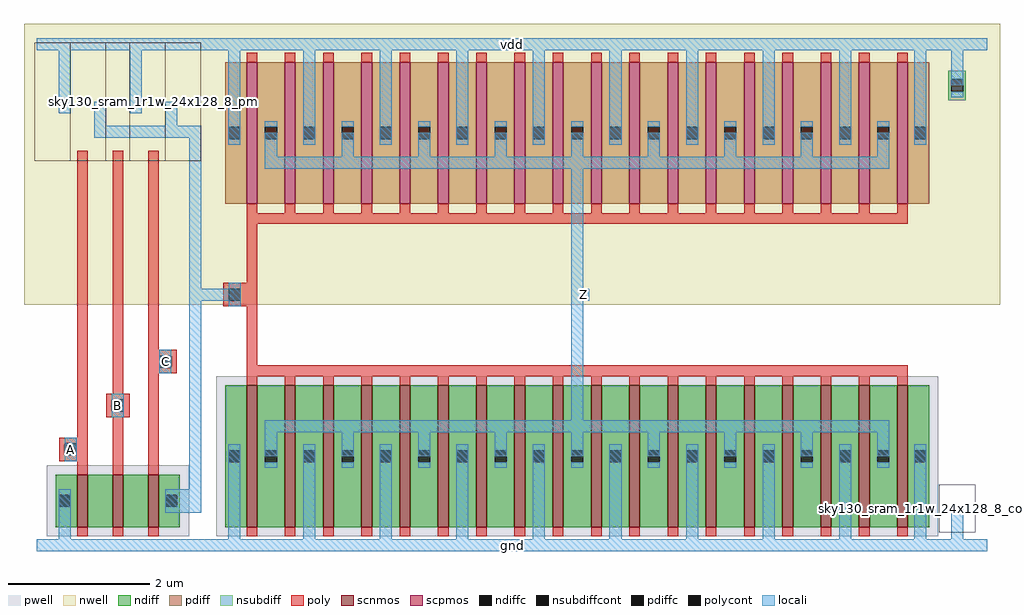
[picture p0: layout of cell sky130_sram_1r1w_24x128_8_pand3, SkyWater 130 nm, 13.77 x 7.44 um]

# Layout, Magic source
magic
tech sky130B
magscale 1 2
<< locali >>
rect 0 1397 2682 1431
rect 430 724 464 1167
rect 430 690 559 724
rect 1525 690 1559 724
rect 345 485 379 551
rect 212 361 246 427
rect 79 237 113 303
rect 0 -17 2682 17
use sky130_sram_1r1w_24x128_8_pdriver_2  sky130_sram_1r1w_24x128_8_pdriver_2_0
transform 1 0 478 0 1 0
box -36 -17 2240 1471
use sky130_sram_1r1w_24x128_8_pnand3  sky130_sram_1r1w_24x128_8_pnand3_0
transform 1 0 0 0 1 0
box -36 -17 514 1471
<< labels >>
rlabel locali s 1542 707 1542 707 4 Z
port 1 nsew
rlabel locali s 96 270 96 270 4 A
port 2 nsew
rlabel locali s 229 394 229 394 4 B
port 3 nsew
rlabel locali s 362 518 362 518 4 C
port 4 nsew
rlabel locali s 1341 0 1341 0 4 gnd
port 5 nsew
rlabel locali s 1341 1414 1341 1414 4 vdd
port 6 nsew
<< properties >>
string FIXED_BBOX 0 0 2682 1414
<< end >>

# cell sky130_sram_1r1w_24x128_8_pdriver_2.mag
magic
tech sky130B
magscale 1 2
<< nwell >>
rect -36 679 2240 1471
<< locali >>
rect 0 1397 2204 1431
rect 64 674 98 740
rect 1047 690 1081 724
rect 0 -17 2204 17
use sky130_sram_1r1w_24x128_8_pinv_12  sky130_sram_1r1w_24x128_8_pinv_12_0
transform 1 0 0 0 1 0
box -36 -17 2240 1471
<< labels >>
rlabel locali s 1064 707 1064 707 4 Z
port 1 nsew
rlabel locali s 81 707 81 707 4 A
port 2 nsew
rlabel locali s 1102 0 1102 0 4 gnd
port 3 nsew
rlabel locali s 1102 1414 1102 1414 4 vdd
port 4 nsew
<< properties >>
string FIXED_BBOX 0 0 2204 1414
<< end >>

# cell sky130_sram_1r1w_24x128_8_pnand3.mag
magic
tech sky130B
magscale 1 2
<< nwell >>
rect -36 679 514 1471
<< poly >>
rect 114 303 144 1113
rect 96 237 144 303
rect 114 225 144 237
rect 214 225 244 1113
rect 314 551 344 1113
rect 314 485 362 551
rect 314 225 344 485
<< locali >>
rect 0 1397 478 1431
rect 62 1218 96 1397
rect 162 1184 196 1251
rect 262 1218 296 1397
rect 362 1184 396 1251
rect 162 1150 464 1184
rect 345 485 379 551
rect 212 361 246 427
rect 79 237 113 303
rect 430 158 464 1150
rect 379 92 464 158
rect 62 17 96 92
rect 0 -17 478 17
use sky130_sram_1r1w_24x128_8_contact_15  sky130_sram_1r1w_24x128_8_contact_15_0
transform 1 0 329 0 1 485
box 0 0 66 66
use sky130_sram_1r1w_24x128_8_contact_15  sky130_sram_1r1w_24x128_8_contact_15_1
transform 1 0 196 0 1 361
box 0 0 66 66
use sky130_sram_1r1w_24x128_8_contact_15  sky130_sram_1r1w_24x128_8_contact_15_2
transform 1 0 63 0 1 237
box 0 0 66 66
use sky130_sram_1r1w_24x128_8_nmos_m1_w0_740_sactive_dactive  sky130_sram_1r1w_24x128_8_nmos_m1_w0_740_sactive_dactive_0
transform 1 0 154 0 1 51
box -26 -26 176 174
use sky130_sram_1r1w_24x128_8_nmos_m1_w0_740_sactive_dli  sky130_sram_1r1w_24x128_8_nmos_m1_w0_740_sactive_dli_0
transform 1 0 254 0 1 51
box -26 -26 176 174
use sky130_sram_1r1w_24x128_8_nmos_m1_w0_740_sli_dactive  sky130_sram_1r1w_24x128_8_nmos_m1_w0_740_sli_dactive_0
transform 1 0 54 0 1 51
box -26 -26 176 174
use sky130_sram_1r1w_24x128_8_pmos_m1_w1_120_sli_dli  sky130_sram_1r1w_24x128_8_pmos_m1_w1_120_sli_dli_0
transform 1 0 254 0 1 1139
box -59 -54 209 278
use sky130_sram_1r1w_24x128_8_pmos_m1_w1_120_sli_dli  sky130_sram_1r1w_24x128_8_pmos_m1_w1_120_sli_dli_1
transform 1 0 154 0 1 1139
box -59 -54 209 278
use sky130_sram_1r1w_24x128_8_pmos_m1_w1_120_sli_dli  sky130_sram_1r1w_24x128_8_pmos_m1_w1_120_sli_dli_2
transform 1 0 54 0 1 1139
box -59 -54 209 278
<< labels >>
rlabel locali s 96 270 96 270 4 A
port 1 nsew
rlabel locali s 229 394 229 394 4 B
port 2 nsew
rlabel locali s 362 518 362 518 4 C
port 3 nsew
rlabel locali s 447 1167 447 1167 4 Z
port 4 nsew
rlabel locali s 239 0 239 0 4 gnd
port 5 nsew
rlabel locali s 239 1414 239 1414 4 vdd
port 6 nsew
<< properties >>
string FIXED_BBOX 0 0 478 1414
<< end >>

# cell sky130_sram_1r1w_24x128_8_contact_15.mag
magic
tech sky130B
<< poly >>
rect 0 25 33 33
rect 0 8 8 25
rect 25 8 33 25
rect 0 0 33 8
<< polycont >>
rect 8 8 25 25
<< locali >>
rect 8 25 25 33
rect 8 0 25 8
<< properties >>
string FIXED_BBOX -10 -10 43 43
<< end >>

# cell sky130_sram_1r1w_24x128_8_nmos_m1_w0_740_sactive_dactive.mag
magic
tech sky130B
magscale 1 2
<< pwell >>
rect -26 -26 176 174
<< scnmos >>
rect 60 0 90 148
<< ndiff >>
rect 0 0 60 148
rect 90 0 150 148
<< poly >>
rect 60 148 90 174
rect 60 -26 90 0
<< labels >>
rlabel poly s 75 74 75 74 4 G
port 1 nsew
rlabel mvpsubdiff s 25 74 25 74 4 S
rlabel mvpsubdiff s 125 74 125 74 4 D
<< properties >>
string FIXED_BBOX -25 -26 175 174
<< end >>

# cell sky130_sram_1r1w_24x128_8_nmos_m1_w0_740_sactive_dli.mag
magic
tech sky130B
magscale 1 2
<< pwell >>
rect -26 -26 176 174
<< scnmos >>
rect 60 0 90 148
<< ndiff >>
rect 0 0 60 148
rect 90 0 150 148
<< poly >>
rect 60 148 90 174
rect 60 -26 90 0
<< locali >>
rect 108 41 142 107
use sky130_sram_1r1w_24x128_8_contact_10  sky130_sram_1r1w_24x128_8_contact_10_0
transform 1 0 100 0 1 41
box -26 -22 76 88
<< labels >>
rlabel poly s 75 74 75 74 4 G
port 1 nsew
rlabel mvpsubdiff s 25 74 25 74 4 S
rlabel locali s 125 74 125 74 4 D
port 2 nsew
<< properties >>
string FIXED_BBOX -25 -26 175 174
<< end >>

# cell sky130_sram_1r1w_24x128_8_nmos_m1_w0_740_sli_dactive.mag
magic
tech sky130B
magscale 1 2
<< pwell >>
rect -26 -26 176 174
<< scnmos >>
rect 60 0 90 148
<< ndiff >>
rect 0 0 60 148
rect 90 0 150 148
<< poly >>
rect 60 148 90 174
rect 60 -26 90 0
<< locali >>
rect 8 41 42 107
use sky130_sram_1r1w_24x128_8_contact_10  sky130_sram_1r1w_24x128_8_contact_10_0
transform 1 0 0 0 1 41
box -26 -22 76 88
<< labels >>
rlabel poly s 75 74 75 74 4 G
port 1 nsew
rlabel locali s 25 74 25 74 4 S
port 2 nsew
rlabel mvpsubdiff s 125 74 125 74 4 D
<< properties >>
string FIXED_BBOX -25 -26 175 174
<< end >>

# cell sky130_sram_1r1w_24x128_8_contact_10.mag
magic
tech sky130B
<< pwell >>
rect -13 -11 38 44
<< ndiff >>
rect 0 25 25 31
rect 0 8 4 25
rect 21 8 25 25
rect 0 2 25 8
<< ndiffc >>
rect 4 8 21 25
<< locali >>
rect 4 25 21 33
rect 4 0 21 8
<< properties >>
string FIXED_BBOX -12 -10 37 43
<< end >>

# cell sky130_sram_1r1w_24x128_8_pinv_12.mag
magic
tech sky130B
magscale 1 2
<< nwell >>
rect -36 679 2240 1471
<< poly >>
rect 114 740 144 907
rect 81 674 144 740
rect 114 507 144 674
<< locali >>
rect 0 1397 2204 1431
rect 62 1130 96 1397
rect 274 1130 308 1397
rect 490 1130 524 1397
rect 706 1130 740 1397
rect 922 1130 956 1397
rect 1138 1130 1172 1397
rect 1354 1130 1388 1397
rect 1570 1130 1604 1397
rect 1786 1130 1820 1397
rect 1998 1130 2032 1397
rect 2102 1297 2136 1397
rect 64 674 98 740
rect 1030 724 1064 1096
rect 1030 690 1081 724
rect 1030 318 1064 690
rect 62 17 96 218
rect 274 17 308 218
rect 490 17 524 218
rect 706 17 740 218
rect 922 17 956 218
rect 1138 17 1172 218
rect 1354 17 1388 218
rect 1570 17 1604 218
rect 1786 17 1820 218
rect 1998 17 2032 218
rect 2102 17 2136 104
rect 0 -17 2204 17
use sky130_sram_1r1w_24x128_8_contact_15  sky130_sram_1r1w_24x128_8_contact_15_0
transform 1 0 48 0 1 674
box 0 0 66 66
use sky130_sram_1r1w_24x128_8_contact_28  sky130_sram_1r1w_24x128_8_contact_28_0
transform 1 0 2094 0 1 1256
box -59 -43 109 125
use sky130_sram_1r1w_24x128_8_contact_29  sky130_sram_1r1w_24x128_8_contact_29_0
transform 1 0 2094 0 1 63
box -26 -26 76 108
use sky130_sram_1r1w_24x128_8_nmos_m18_w2_000_sli_dli_da_p  sky130_sram_1r1w_24x128_8_nmos_m18_w2_000_sli_dli_da_p_0
transform 1 0 54 0 1 51
box -26 -26 2012 456
use sky130_sram_1r1w_24x128_8_pmos_m18_w2_000_sli_dli_da_p  sky130_sram_1r1w_24x128_8_pmos_m18_w2_000_sli_dli_da_p_0
transform 1 0 54 0 1 963
box -59 -56 2045 454
<< labels >>
rlabel locali s 81 707 81 707 4 A
port 1 nsew
rlabel locali s 1064 707 1064 707 4 Z
port 2 nsew
rlabel locali s 1102 0 1102 0 4 gnd
port 3 nsew
rlabel locali s 1102 1414 1102 1414 4 vdd
port 4 nsew
<< properties >>
string FIXED_BBOX 0 0 2204 1414
<< end >>

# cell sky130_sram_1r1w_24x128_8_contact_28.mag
magic
tech sky130B
magscale 1 2
<< nwell >>
rect -59 -43 109 125
<< nsubdiff >>
rect 0 58 50 82
rect 0 24 8 58
rect 42 24 50 58
rect 0 0 50 24
<< nsubdiffcont >>
rect 8 24 42 58
<< locali >>
rect 8 58 42 74
rect 8 8 42 24
<< properties >>
string FIXED_BBOX -59 -43 109 125
<< end >>

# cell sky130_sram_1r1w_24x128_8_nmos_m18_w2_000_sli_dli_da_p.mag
magic
tech sky130B
magscale 1 2
<< pwell >>
rect -26 -26 2012 426
<< scnmos >>
rect 60 0 90 400
rect 168 0 198 400
rect 276 0 306 400
rect 384 0 414 400
rect 492 0 522 400
rect 600 0 630 400
rect 708 0 738 400
rect 816 0 846 400
rect 924 0 954 400
rect 1032 0 1062 400
rect 1140 0 1170 400
rect 1248 0 1278 400
rect 1356 0 1386 400
rect 1464 0 1494 400
rect 1572 0 1602 400
rect 1680 0 1710 400
rect 1788 0 1818 400
rect 1896 0 1926 400
<< ndiff >>
rect 0 0 60 400
rect 90 0 168 400
rect 198 0 276 400
rect 306 0 384 400
rect 414 0 492 400
rect 522 0 600 400
rect 630 0 708 400
rect 738 0 816 400
rect 846 0 924 400
rect 954 0 1032 400
rect 1062 0 1140 400
rect 1170 0 1248 400
rect 1278 0 1356 400
rect 1386 0 1464 400
rect 1494 0 1572 400
rect 1602 0 1680 400
rect 1710 0 1788 400
rect 1818 0 1896 400
rect 1926 0 1986 400
<< poly >>
rect 60 426 1926 456
rect 60 400 90 426
rect 168 400 198 426
rect 276 400 306 426
rect 384 400 414 426
rect 492 400 522 426
rect 600 400 630 426
rect 708 400 738 426
rect 816 400 846 426
rect 924 400 954 426
rect 1032 400 1062 426
rect 1140 400 1170 426
rect 1248 400 1278 426
rect 1356 400 1386 426
rect 1464 400 1494 426
rect 1572 400 1602 426
rect 1680 400 1710 426
rect 1788 400 1818 426
rect 1896 400 1926 426
rect 60 -26 90 0
rect 168 -26 198 0
rect 276 -26 306 0
rect 384 -26 414 0
rect 492 -26 522 0
rect 600 -26 630 0
rect 708 -26 738 0
rect 816 -26 846 0
rect 924 -26 954 0
rect 1032 -26 1062 0
rect 1140 -26 1170 0
rect 1248 -26 1278 0
rect 1356 -26 1386 0
rect 1464 -26 1494 0
rect 1572 -26 1602 0
rect 1680 -26 1710 0
rect 1788 -26 1818 0
rect 1896 -26 1926 0
<< locali >>
rect 112 267 1874 301
rect 8 167 42 233
rect 112 200 146 267
rect 220 167 254 233
rect 328 200 362 267
rect 436 167 470 233
rect 544 200 578 267
rect 652 167 686 233
rect 760 200 794 267
rect 868 167 902 233
rect 976 200 1010 267
rect 1084 167 1118 233
rect 1192 200 1226 267
rect 1300 167 1334 233
rect 1408 200 1442 267
rect 1516 167 1550 233
rect 1624 200 1658 267
rect 1732 167 1766 233
rect 1840 200 1874 267
rect 1944 167 1978 233
use sky130_sram_1r1w_24x128_8_contact_10  sky130_sram_1r1w_24x128_8_contact_10_0
transform 1 0 1936 0 1 167
box -26 -22 76 88
use sky130_sram_1r1w_24x128_8_contact_10  sky130_sram_1r1w_24x128_8_contact_10_1
transform 1 0 1832 0 1 167
box -26 -22 76 88
use sky130_sram_1r1w_24x128_8_contact_10  sky130_sram_1r1w_24x128_8_contact_10_2
transform 1 0 1724 0 1 167
box -26 -22 76 88
use sky130_sram_1r1w_24x128_8_contact_10  sky130_sram_1r1w_24x128_8_contact_10_3
transform 1 0 1616 0 1 167
box -26 -22 76 88
use sky130_sram_1r1w_24x128_8_contact_10  sky130_sram_1r1w_24x128_8_contact_10_4
transform 1 0 1508 0 1 167
box -26 -22 76 88
use sky130_sram_1r1w_24x128_8_contact_10  sky130_sram_1r1w_24x128_8_contact_10_5
transform 1 0 1400 0 1 167
box -26 -22 76 88
use sky130_sram_1r1w_24x128_8_contact_10  sky130_sram_1r1w_24x128_8_contact_10_6
transform 1 0 1292 0 1 167
box -26 -22 76 88
use sky130_sram_1r1w_24x128_8_contact_10  sky130_sram_1r1w_24x128_8_contact_10_7
transform 1 0 1184 0 1 167
box -26 -22 76 88
use sky130_sram_1r1w_24x128_8_contact_10  sky130_sram_1r1w_24x128_8_contact_10_8
transform 1 0 1076 0 1 167
box -26 -22 76 88
use sky130_sram_1r1w_24x128_8_contact_10  sky130_sram_1r1w_24x128_8_contact_10_9
transform 1 0 968 0 1 167
box -26 -22 76 88
use sky130_sram_1r1w_24x128_8_contact_10  sky130_sram_1r1w_24x128_8_contact_10_10
transform 1 0 860 0 1 167
box -26 -22 76 88
use sky130_sram_1r1w_24x128_8_contact_10  sky130_sram_1r1w_24x128_8_contact_10_11
transform 1 0 752 0 1 167
box -26 -22 76 88
use sky130_sram_1r1w_24x128_8_contact_10  sky130_sram_1r1w_24x128_8_contact_10_12
transform 1 0 644 0 1 167
box -26 -22 76 88
use sky130_sram_1r1w_24x128_8_contact_10  sky130_sram_1r1w_24x128_8_contact_10_13
transform 1 0 536 0 1 167
box -26 -22 76 88
use sky130_sram_1r1w_24x128_8_contact_10  sky130_sram_1r1w_24x128_8_contact_10_14
transform 1 0 428 0 1 167
box -26 -22 76 88
use sky130_sram_1r1w_24x128_8_contact_10  sky130_sram_1r1w_24x128_8_contact_10_15
transform 1 0 320 0 1 167
box -26 -22 76 88
use sky130_sram_1r1w_24x128_8_contact_10  sky130_sram_1r1w_24x128_8_contact_10_16
transform 1 0 212 0 1 167
box -26 -22 76 88
use sky130_sram_1r1w_24x128_8_contact_10  sky130_sram_1r1w_24x128_8_contact_10_17
transform 1 0 104 0 1 167
box -26 -22 76 88
use sky130_sram_1r1w_24x128_8_contact_10  sky130_sram_1r1w_24x128_8_contact_10_18
transform 1 0 0 0 1 167
box -26 -22 76 88
<< labels >>
rlabel poly s 993 441 993 441 4 G
port 1 nsew
rlabel locali s 1961 200 1961 200 4 S
port 2 nsew
rlabel locali s 885 200 885 200 4 S
port 2 nsew
rlabel locali s 237 200 237 200 4 S
port 2 nsew
rlabel locali s 1317 200 1317 200 4 S
port 2 nsew
rlabel locali s 1533 200 1533 200 4 S
port 2 nsew
rlabel locali s 1749 200 1749 200 4 S
port 2 nsew
rlabel locali s 669 200 669 200 4 S
port 2 nsew
rlabel locali s 1101 200 1101 200 4 S
port 2 nsew
rlabel locali s 25 200 25 200 4 S
port 2 nsew
rlabel locali s 453 200 453 200 4 S
port 2 nsew
rlabel locali s 993 284 993 284 4 D
port 3 nsew
<< properties >>
string FIXED_BBOX -25 -26 2011 456
<< end >>

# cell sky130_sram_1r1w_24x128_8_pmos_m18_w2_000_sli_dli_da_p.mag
magic
tech sky130B
magscale 1 2
<< nwell >>
rect -54 -54 2040 454
<< scpmos >>
rect 60 0 90 400
rect 168 0 198 400
rect 276 0 306 400
rect 384 0 414 400
rect 492 0 522 400
rect 600 0 630 400
rect 708 0 738 400
rect 816 0 846 400
rect 924 0 954 400
rect 1032 0 1062 400
rect 1140 0 1170 400
rect 1248 0 1278 400
rect 1356 0 1386 400
rect 1464 0 1494 400
rect 1572 0 1602 400
rect 1680 0 1710 400
rect 1788 0 1818 400
rect 1896 0 1926 400
<< pdiff >>
rect 0 0 60 400
rect 90 0 168 400
rect 198 0 276 400
rect 306 0 384 400
rect 414 0 492 400
rect 522 0 600 400
rect 630 0 708 400
rect 738 0 816 400
rect 846 0 924 400
rect 954 0 1032 400
rect 1062 0 1140 400
rect 1170 0 1248 400
rect 1278 0 1356 400
rect 1386 0 1464 400
rect 1494 0 1572 400
rect 1602 0 1680 400
rect 1710 0 1788 400
rect 1818 0 1896 400
rect 1926 0 1986 400
<< poly >>
rect 60 400 90 426
rect 168 400 198 426
rect 276 400 306 426
rect 384 400 414 426
rect 492 400 522 426
rect 600 400 630 426
rect 708 400 738 426
rect 816 400 846 426
rect 924 400 954 426
rect 1032 400 1062 426
rect 1140 400 1170 426
rect 1248 400 1278 426
rect 1356 400 1386 426
rect 1464 400 1494 426
rect 1572 400 1602 426
rect 1680 400 1710 426
rect 1788 400 1818 426
rect 1896 400 1926 426
rect 60 -26 90 0
rect 168 -26 198 0
rect 276 -26 306 0
rect 384 -26 414 0
rect 492 -26 522 0
rect 600 -26 630 0
rect 708 -26 738 0
rect 816 -26 846 0
rect 924 -26 954 0
rect 1032 -26 1062 0
rect 1140 -26 1170 0
rect 1248 -26 1278 0
rect 1356 -26 1386 0
rect 1464 -26 1494 0
rect 1572 -26 1602 0
rect 1680 -26 1710 0
rect 1788 -26 1818 0
rect 1896 -26 1926 0
rect 60 -56 1926 -26
<< locali >>
rect 8 167 42 233
rect 112 133 146 200
rect 220 167 254 233
rect 328 133 362 200
rect 436 167 470 233
rect 544 133 578 200
rect 652 167 686 233
rect 760 133 794 200
rect 868 167 902 233
rect 976 133 1010 200
rect 1084 167 1118 233
rect 1192 133 1226 200
rect 1300 167 1334 233
rect 1408 133 1442 200
rect 1516 167 1550 233
rect 1624 133 1658 200
rect 1732 167 1766 233
rect 1840 133 1874 200
rect 1944 167 1978 233
rect 112 99 1874 133
use sky130_sram_1r1w_24x128_8_contact_11  sky130_sram_1r1w_24x128_8_contact_11_0
transform 1 0 1936 0 1 167
box -59 -51 109 117
use sky130_sram_1r1w_24x128_8_contact_11  sky130_sram_1r1w_24x128_8_contact_11_1
transform 1 0 1832 0 1 167
box -59 -51 109 117
use sky130_sram_1r1w_24x128_8_contact_11  sky130_sram_1r1w_24x128_8_contact_11_2
transform 1 0 1724 0 1 167
box -59 -51 109 117
use sky130_sram_1r1w_24x128_8_contact_11  sky130_sram_1r1w_24x128_8_contact_11_3
transform 1 0 1616 0 1 167
box -59 -51 109 117
use sky130_sram_1r1w_24x128_8_contact_11  sky130_sram_1r1w_24x128_8_contact_11_4
transform 1 0 1508 0 1 167
box -59 -51 109 117
use sky130_sram_1r1w_24x128_8_contact_11  sky130_sram_1r1w_24x128_8_contact_11_5
transform 1 0 1400 0 1 167
box -59 -51 109 117
use sky130_sram_1r1w_24x128_8_contact_11  sky130_sram_1r1w_24x128_8_contact_11_6
transform 1 0 1292 0 1 167
box -59 -51 109 117
use sky130_sram_1r1w_24x128_8_contact_11  sky130_sram_1r1w_24x128_8_contact_11_7
transform 1 0 1184 0 1 167
box -59 -51 109 117
use sky130_sram_1r1w_24x128_8_contact_11  sky130_sram_1r1w_24x128_8_contact_11_8
transform 1 0 1076 0 1 167
box -59 -51 109 117
use sky130_sram_1r1w_24x128_8_contact_11  sky130_sram_1r1w_24x128_8_contact_11_9
transform 1 0 968 0 1 167
box -59 -51 109 117
use sky130_sram_1r1w_24x128_8_contact_11  sky130_sram_1r1w_24x128_8_contact_11_10
transform 1 0 860 0 1 167
box -59 -51 109 117
use sky130_sram_1r1w_24x128_8_contact_11  sky130_sram_1r1w_24x128_8_contact_11_11
transform 1 0 752 0 1 167
box -59 -51 109 117
use sky130_sram_1r1w_24x128_8_contact_11  sky130_sram_1r1w_24x128_8_contact_11_12
transform 1 0 644 0 1 167
box -59 -51 109 117
use sky130_sram_1r1w_24x128_8_contact_11  sky130_sram_1r1w_24x128_8_contact_11_13
transform 1 0 536 0 1 167
box -59 -51 109 117
use sky130_sram_1r1w_24x128_8_contact_11  sky130_sram_1r1w_24x128_8_contact_11_14
transform 1 0 428 0 1 167
box -59 -51 109 117
use sky130_sram_1r1w_24x128_8_contact_11  sky130_sram_1r1w_24x128_8_contact_11_15
transform 1 0 320 0 1 167
box -59 -51 109 117
use sky130_sram_1r1w_24x128_8_contact_11  sky130_sram_1r1w_24x128_8_contact_11_16
transform 1 0 212 0 1 167
box -59 -51 109 117
use sky130_sram_1r1w_24x128_8_contact_11  sky130_sram_1r1w_24x128_8_contact_11_17
transform 1 0 104 0 1 167
box -59 -51 109 117
use sky130_sram_1r1w_24x128_8_contact_11  sky130_sram_1r1w_24x128_8_contact_11_18
transform 1 0 0 0 1 167
box -59 -51 109 117
<< labels >>
rlabel poly s 993 -41 993 -41 4 G
port 1 nsew
rlabel locali s 1961 200 1961 200 4 S
port 2 nsew
rlabel locali s 885 200 885 200 4 S
port 2 nsew
rlabel locali s 237 200 237 200 4 S
port 2 nsew
rlabel locali s 1317 200 1317 200 4 S
port 2 nsew
rlabel locali s 1533 200 1533 200 4 S
port 2 nsew
rlabel locali s 1749 200 1749 200 4 S
port 2 nsew
rlabel locali s 669 200 669 200 4 S
port 2 nsew
rlabel locali s 1101 200 1101 200 4 S
port 2 nsew
rlabel locali s 25 200 25 200 4 S
port 2 nsew
rlabel locali s 453 200 453 200 4 S
port 2 nsew
rlabel locali s 993 116 993 116 4 D
port 3 nsew
<< properties >>
string FIXED_BBOX -54 -56 2040 454
<< end >>

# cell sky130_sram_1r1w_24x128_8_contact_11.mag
magic
tech sky130B
magscale 1 2
<< nwell >>
rect -59 -51 109 117
<< pdiff >>
rect 0 50 50 62
rect 0 16 8 50
rect 42 16 50 50
rect 0 4 50 16
<< pdiffc >>
rect 8 16 42 50
<< locali >>
rect 8 50 42 66
rect 8 0 42 16
<< properties >>
string FIXED_BBOX -59 -51 109 117
<< end >>
